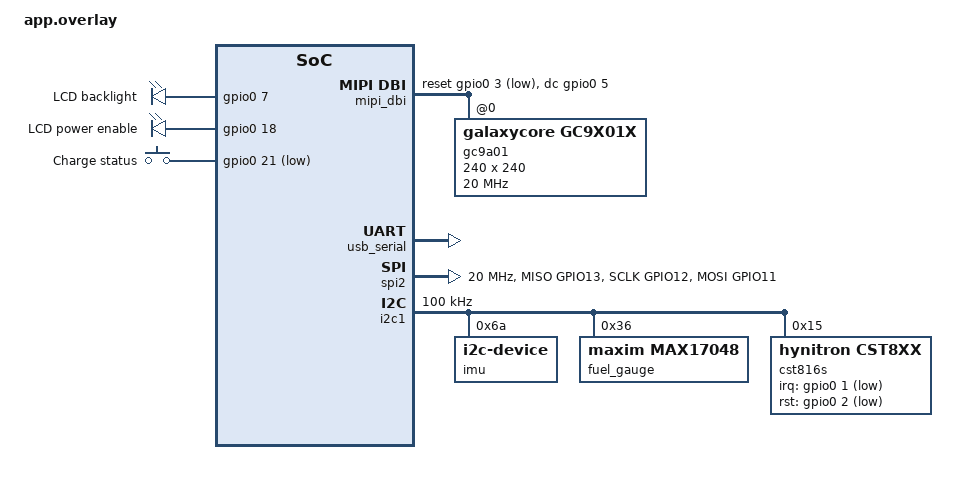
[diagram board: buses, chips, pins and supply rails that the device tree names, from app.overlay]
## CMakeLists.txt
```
cmake_minimum_required(VERSION 3.20.0)

set(BOARD esp32s3_devkitc/esp32s3/procpu CACHE STRING "Default Zephyr board")

find_package(Zephyr REQUIRED HINTS $ENV{ZEPHYR_BASE})
project(minimal_zephyr_app)

target_sources(app PRIVATE
    src/main.c
    src/panel.c
    src/menu.c
    src/battery_log.c
    src/assets/step_icon.c
)
```

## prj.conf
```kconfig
CONFIG_CONSOLE=y
CONFIG_UART_CONSOLE=y
CONFIG_SERIAL=y
CONFIG_SERIAL_ESP32_USB=y
CONFIG_SHELL=y
CONFIG_SHELL_BACKEND_SERIAL=y
CONFIG_SHELL_PROMPT_UART="hacktor:~$ "
CONFIG_SHELL_STACK_SIZE=4096
CONFIG_GPIO=y
CONFIG_PRINTK=y
CONFIG_SPI=y
CONFIG_INPUT=y
CONFIG_DISPLAY=y
CONFIG_FUEL_GAUGE=y
CONFIG_MAX17048=y
CONFIG_LOG=y
CONFIG_MAIN_STACK_SIZE=4096
CONFIG_LVGL=y
CONFIG_LV_Z_AUTO_INIT=n
CONFIG_LV_Z_MEM_POOL_SIZE=65536
CONFIG_LV_USE_LABEL=y
CONFIG_LV_USE_LINE=y
CONFIG_LV_FONT_MONTSERRAT_14=y
CONFIG_LV_FONT_MONTSERRAT_20=y
CONFIG_LV_FONT_DEFAULT_MONTSERRAT_14=y
CONFIG_LV_COLOR_16_SWAP=y

# Shell tools for poking at the hardware from the console.
CONFIG_DEVICE_SHELL=y
CONFIG_GPIO_SHELL=y
CONFIG_I2C_SHELL=y
CONFIG_KERNEL_SHELL=y

# The touch controller reports far faster than the 16-deep defaults can absorb,
# and dropped events leave LVGL with presses that never complete.
CONFIG_INPUT_QUEUE_MAX_MSGS=64
CONFIG_LV_Z_POINTER_INPUT_MSGQ_COUNT=64

# Stay in interrupt mode. The controller returns all-zero data when idle, and
# the driver reads that as a press at 0,0 (event 0 is EVENT_PRESS_DOWN), so
# polling manufactures a permanent touch. Reading only when the panel raises
# its interrupt means only real contacts are ever sampled.
```

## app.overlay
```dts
#include <zephyr/dt-bindings/display/panel.h>
#include <zephyr/dt-bindings/gpio/gpio.h>
#include <zephyr/dt-bindings/i2c/i2c.h>
#include <zephyr/dt-bindings/input/input-event-codes.h>
#include <zephyr/dt-bindings/pinctrl/esp-pinctrl-common.h>
#include <zephyr/dt-bindings/pinctrl/esp32s3-gpio-sigmap.h>
#include <zephyr/dt-bindings/pinctrl/esp32s3-pinctrl.h>

/ {
	chosen {
		zephyr,console = &usb_serial;
		zephyr,shell-uart = &usb_serial;
		zephyr,display = &gc9a01;
		zephyr,touch = &cst816s;
	};

	mipi_dbi {
		compatible = "zephyr,mipi-dbi-spi";
		spi-dev = <&spi2>;
		dc-gpios = <&gpio0 5 GPIO_ACTIVE_HIGH>;
		reset-gpios = <&gpio0 3 GPIO_ACTIVE_LOW>;
		write-only;
		#address-cells = <1>;
		#size-cells = <0>;

		gc9a01: gc9a01@0 {
			compatible = "galaxycore,gc9x01x";
			reg = <0>;
			status = "okay";
			zephyr,deferred-init;
			orientation = "180";
			mipi-max-frequency = <20000000>;
			mipi-mode = "MIPI_DBI_MODE_SPI_4WIRE";
			pixel-format = <PANEL_PIXEL_FORMAT_RGB_565>;
			width = <240>;
			height = <240>;
			display-inversion;
		};
	};

	leds {
		compatible = "gpio-leds";

		lcd_backlight: lcd_backlight {
			gpios = <&gpio0 7 GPIO_ACTIVE_HIGH>;
			label = "LCD backlight";
		};

		lcd_power_enable: lcd_power_enable {
			gpios = <&gpio0 18 GPIO_ACTIVE_HIGH>;
			label = "LCD power enable";
		};
	};

	charger_inputs {
		compatible = "gpio-keys";

		charger_status: charger_status {
			gpios = <&gpio0 21 (GPIO_PULL_UP | GPIO_ACTIVE_LOW)>;
			label = "Charge status";
			zephyr,code = <INPUT_KEY_F24>;
		};
	};
};

&usb_serial {
	status = "okay";
};

&pinctrl {
	/* LCD is wired to GPIO12/11/13, the IO_MUX pins of SPI2 (FSPI). */
	spim2_lcd_default: spim2_lcd_default {
		group1 {
			pinmux = <SPIM2_MISO_GPIO13>, <SPIM2_SCLK_GPIO12>;
		};

		group2 {
			pinmux = <SPIM2_MOSI_GPIO11>;
			output-low;
		};
	};

	i2c1_touch_default: i2c1_touch_default {
		group1 {
			pinmux = <I2C1_SDA_GPIO8>, <I2C1_SCL_GPIO9>;
			bias-pull-up;
			drive-open-drain;
			output-high;
		};
	};
};

&spi2 {
	#address-cells = <1>;
	#size-cells = <0>;
	status = "okay";
	pinctrl-0 = <&spim2_lcd_default>;
	pinctrl-names = "default";
	clock-frequency = <20000000>;
	cs-gpios = <&gpio0 4 GPIO_ACTIVE_LOW>;
};

&spi3 {
	status = "disabled";
};

&i2c1 {
	status = "okay";
	clock-frequency = <I2C_BITRATE_STANDARD>;
	pinctrl-0 = <&i2c1_touch_default>;
	pinctrl-names = "default";

	imu: lsm6dsl@6a {
		compatible = "i2c-device";
		reg = <0x6a>;
		status = "okay";
	};

	fuel_gauge: max17048@36 {
		compatible = "maxim,max17048";
		reg = <0x36>;
		status = "okay";
		zephyr,deferred-init;
	};

	cst816s: cst81xx@15 {
		compatible = "hynitron,cst8xx";
		reg = <0x15>;
		status = "okay";
		/*
		 * Deferred because the 3V3_2 rail is still down at boot; the app
		 * initialises the controller after powering the display. Losing
		 * this makes device_init() return -EALREADY and the panel never
		 * comes up at all.
		 */
		zephyr,deferred-init;
		irq-gpios = <&gpio0 1 (GPIO_PULL_UP | GPIO_ACTIVE_LOW)>;
		rst-gpios = <&gpio0 2 GPIO_ACTIVE_LOW>;
	};
};

&{/buttons} {
	imu_wake1 {
		gpios = <&gpio0 17 GPIO_ACTIVE_HIGH>;
		label = "IMU INT1";
		zephyr,code = <INPUT_KEY_WAKEUP>;
	};

	imu_wake2 {
		gpios = <&gpio0 14 GPIO_ACTIVE_HIGH>;
		label = "IMU INT2";
		zephyr,code = <INPUT_KEY_WAKEUP>;
	};
};
```

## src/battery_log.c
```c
#include "battery_log.h"

#include <errno.h>
#include <stdlib.h>
#include <zephyr/device.h>
#include <zephyr/drivers/i2c.h>
#include <zephyr/kernel.h>
#include <zephyr/shell/shell.h>
#include <zephyr/sys/byteorder.h>
#include <zephyr/sys/util.h>

#define FUEL_GAUGE_NODE DT_NODELABEL(fuel_gauge)

/*
 * Registers are read straight off the bus rather than through the Zephyr
 * fuel gauge driver, for two reasons:
 *
 *   - max17048_percent() returns `data / 256`, throwing away the low byte of
 *     the state of charge. One percent of this cell is 2 mAh, which is several
 *     minutes of idle — far too coarse to compare one power fix against the
 *     next. The raw register carries 1/256 %, or 0.0156 mAh.
 *   - the driver reads CRATE but only ever exposes it as a time-to-empty in
 *     whole minutes. Read directly it is a discharge rate, which is the
 *     closest thing to a current meter this board has.
 *
 * Talking to the chip directly also means the log keeps working when the
 * driver failed to initialize, which is exactly when it is most interesting.
 */
#define REG_VCELL 0x02
#define REG_SOC   0x04
#define REG_CRATE 0x16

/* Cell fitted on the board. Only used to turn percentages into mAh. */
#define BATTERY_CAPACITY_MAH 200

/* Datasheet Table 2: CRATE is 0.208 %/hr per LSB. Against a 200 mAh cell that
 * is 0.416 mA, held here as microamps so the arithmetic stays integer. */
#define CRATE_UA_PER_LSB ((208 * BATTERY_CAPACITY_MAH) / 100)

/* Full charge in the units of REG_SOC: 100 % at 1/256 % per LSB. */
#define SOC_FULL_Q8 25600

#define SAMPLE_SLOTS     512
#define PERIOD_MIN_S     10U
#define PERIOD_MAX_S     3600U
#define PERIOD_DEFAULT_S 60U

#define LOG_THREAD_STACK_SIZE 1536
#define LOG_THREAD_PRIORITY   10

struct battery_sample {
	uint32_t uptime_s;
	uint16_t soc_q8;
	uint16_t millivolts;
	uint16_t screen_on_s; /* lit time within the interval ending at this sample */
	int16_t crate_raw;
};

static const struct i2c_dt_spec fuel_gauge = I2C_DT_SPEC_GET(FUEL_GAUGE_NODE);

static K_MUTEX_DEFINE(log_mutex);
K_THREAD_STACK_DEFINE(log_thread_stack, LOG_THREAD_STACK_SIZE);
static struct k_thread log_thread_data;

static struct battery_sample ring[SAMPLE_SLOTS];
static uint32_t ring_head;
static uint32_t ring_count;

/*
 * The ring is allowed to overwrite its oldest entries, but the very first
 * sample is kept aside so a long run can still be summarised end to end after
 * the detail has rolled off.
 */
static struct battery_sample anchor;
static struct battery_sample latest;
static bool anchor_valid;

/*
 * Running totals, kept outside the ring so they survive rollover. Intervals
 * are split by whether the screen came on at all, which is what lets the two
 * currents be told apart.
 */
static uint64_t total_ms;
static int32_t total_drop_q8;
static uint64_t idle_ms;
static int32_t idle_drop_q8;
static uint64_t screen_ms;
static uint32_t charging_skips;
static uint32_t read_errors;

static uint32_t period_s = PERIOD_DEFAULT_S;

/* Screen accounting is written from the display thread and read from the
 * sampler, so it gets its own lock; the sections are a few lines each. */
static struct k_spinlock screen_lock;
static bool screen_lit;
static int64_t screen_since_ms;
static uint32_t screen_accum_ms;

void battery_log_display_changed(bool active)
{
	const int64_t now = k_uptime_get();
	k_spinlock_key_t key = k_spin_lock(&screen_lock);

	if (active && !screen_lit) {
		screen_lit = true;
		screen_since_ms = now;
	} else if (!active && screen_lit) {
		screen_accum_ms += (uint32_t)(now - screen_since_ms);
		screen_lit = false;
	}

	k_spin_unlock(&screen_lock, key);
}

static uint32_t take_screen_ms(void)
{
	const int64_t now = k_uptime_get();
	k_spinlock_key_t key = k_spin_lock(&screen_lock);
	uint32_t ms = screen_accum_ms;

	/* A screen that is still lit contributes the part elapsed so far, and
	 * the clock restarts here so the next interval is not double counted. */
	if (screen_lit) {
		ms += (uint32_t)(now - screen_since_ms);
		screen_since_ms = now;
	}

	screen_accum_ms = 0;
	k_spin_unlock(&screen_lock, key);

	return ms;
}

static int read_reg(uint8_t reg, uint16_t *value)
{
	uint8_t buf[2];
	const int ret = i2c_write_read_dt(&fuel_gauge, &reg, sizeof(reg), buf, sizeof(buf));

	if (ret < 0) {
		return ret;
	}

	*value = sys_get_be16(buf);
	return 0;
}

static int read_sample(struct battery_sample *out)
{
	uint16_t soc;
	uint16_t vcell;
	uint16_t crate;
	int ret;

	ret = read_reg(REG_SOC, &soc);
	if (ret < 0) {
		return ret;
	}

	ret = read_reg(REG_VCELL, &vcell);
	if (ret < 0) {
		return ret;
	}

	ret = read_reg(REG_CRATE, &crate);
	if (ret < 0) {
		return ret;
	}

	out->uptime_s = (uint32_t)(k_uptime_get() / 1000);
	out->soc_q8 = soc;
	/* 78.125 uV per LSB, which is exactly 5/64 mV. */
	out->millivolts = (uint16_t)(((uint32_t)vcell * 5U) / 64U);
	out->crate_raw = (int16_t)crate;
	out->screen_on_s = 0U;

	return 0;
}

static int64_t soc_delta_to_uah(int32_t delta_q8)
{
	return ((int64_t)delta_q8 * BATTERY_CAPACITY_MAH * 1000) / SOC_FULL_Q8;
}

static int32_t average_ua(int32_t delta_q8, uint64_t ms)
{
	if (ms == 0U) {
		return 0;
	}

	return (int32_t)((soc_delta_to_uah(delta_q8) * 3600000) / (int64_t)ms);
}

static void accumulate(const struct battery_sample *prev, const struct battery_sample *now)
{
	const uint64_t interval_ms = (uint64_t)(now->uptime_s - prev->uptime_s) * 1000ULL;
	const int32_t drop = (int32_t)prev->soc_q8 - (int32_t)now->soc_q8;

	if (interval_ms == 0U) {
		return;
	}

	/* Charging, or a gauge re-estimate that pushed the reading back up,
	 * makes the interval useless for a discharge figure. */
	if (drop < 0) {
		charging_skips++;
		return;
	}

	total_ms += interval_ms;
	total_drop_q8 += drop;
	screen_ms += (uint64_t)now->screen_on_s * 1000ULL;

	if (now->screen_on_s == 0U) {
		idle_ms += interval_ms;
		idle_drop_q8 += drop;
	}
}

static void store(const struct battery_sample *sample)
{
	k_mutex_lock(&log_mutex, K_FOREVER);

	if (!anchor_valid) {
		anchor = *sample;
		anchor_valid = true;
	} else {
		accumulate(&latest, sample);
	}

	latest = *sample;

	ring[ring_head] = *sample;
	ring_head = (ring_head + 1U) % SAMPLE_SLOTS;
	if (ring_count < SAMPLE_SLOTS) {
		ring_count++;
	}

	k_mutex_unlock(&log_mutex);
}

/* Index 0 is the oldest entry still held. Call with the mutex taken. */
static const struct battery_sample *ring_at(uint32_t index)
{
	const uint32_t start = (ring_count == SAMPLE_SLOTS) ? ring_head : 0U;

	return &ring[(start + index) % SAMPLE_SLOTS];
}

static void log_thread_entry(void *arg1, void *arg2, void *arg3)
{
	ARG_UNUSED(arg1);
	ARG_UNUSED(arg2);
	ARG_UNUSED(arg3);

	/*
	 * Nothing in this thread may print. It keeps running with USB unplugged,
	 * which is the whole point of the log, and the console blocks when no
	 * host is draining it — a stray printk here would hang the sampler and
	 * take the measurement with it.
	 */
	while (1) {
		struct battery_sample sample;

		k_sleep(K_SECONDS(period_s));

		if (read_sample(&sample) < 0) {
			read_errors++;
			/* Leave the screen time banked; it belongs to whichever
			 * interval eventually closes. */
			continue;
		}

		sample.screen_on_s = (uint16_t)MIN(take_screen_ms() / 1000U, (uint32_t)UINT16_MAX);
		store(&sample);
	}
}

int battery_log_init(void)
{
	if (!device_is_ready(fuel_gauge.bus)) {
		return -ENODEV;
	}

	k_thread_create(&log_thread_data, log_thread_stack,
			K_THREAD_STACK_SIZEOF(log_thread_stack), log_thread_entry, NULL, NULL,
			NULL, LOG_THREAD_PRIORITY, 0, K_NO_WAIT);
	k_thread_name_set(&log_thread_data, "batlog");

	return 0;
}

/* Shell */

static void print_soc(const struct shell *sh, const char *label, uint16_t soc_q8)
{
	shell_print(sh, "%-16s %u.%02u %%", label, soc_q8 / 256U,
		    ((soc_q8 % 256U) * 100U) / 256U);
}

static void print_duration(const struct shell *sh, const char *label, uint64_t ms)
{
	const uint64_t secs = ms / 1000ULL;

	shell_print(sh, "%-16s %lluh %02llum %02llus", label, secs / 3600ULL,
		    (secs / 60ULL) % 60ULL, secs % 60ULL);
}

static void print_current(const struct shell *sh, const char *label, int32_t ua)
{
	shell_print(sh, "%-16s %d.%03d mA", label, ua / 1000, abs(ua) % 1000);
}

static int cmd_now(const struct shell *sh, size_t argc, char **argv)
{
	uint16_t soc;
	uint16_t vcell;
	uint16_t crate;
	int32_t ua;
	int ret;

	ARG_UNUSED(argc);
	ARG_UNUSED(argv);

	ret = read_reg(REG_SOC, &soc);
	if (ret == 0) {
		ret = read_reg(REG_VCELL, &vcell);
	}
	if (ret == 0) {
		ret = read_reg(REG_CRATE, &crate);
	}
	if (ret < 0) {
		shell_error(sh, "fuel gauge read failed: %d", ret);
		return ret;
	}

	ua = (int32_t)(int16_t)crate * CRATE_UA_PER_LSB;

	print_soc(sh, "charge", soc);
	shell_print(sh, "%-16s %u mV", "cell", ((uint32_t)vcell * 5U) / 64U);
	shell_print(sh, "%-16s %d LSB (%d.%03d %%/hr)", "crate", (int16_t)crate,
		    ((int16_t)crate * 208) / 1000, abs((int16_t)crate * 208) % 1000);
	print_current(sh, ua < 0 ? "draw" : "charge rate", ua < 0 ? -ua : ua);
	shell_print(sh, "");
	shell_print(sh, "CRATE is a ModelGauge estimate, not a shunt reading. It needs a few");
	shell_print(sh, "minutes to settle and resolves ~0.4 mA per LSB, so treat it as a");
	shell_print(sh, "quick check and use 'batlog stat' for the number you trust.");

	return 0;
}

static int cmd_stat(const struct shell *sh, size_t argc, char **argv)
{
	int32_t idle_ua;
	int32_t total_ua;
	uint64_t elapsed_ms;
	int32_t drop_q8;

	ARG_UNUSED(argc);
	ARG_UNUSED(argv);

	k_mutex_lock(&log_mutex, K_FOREVER);

	if (!anchor_valid || ring_count < 2U) {
		k_mutex_unlock(&log_mutex);
		shell_print(sh, "Not enough samples yet (period is %u s).", period_s);
		return 0;
	}

	elapsed_ms = (uint64_t)(latest.uptime_s - anchor.uptime_s) * 1000ULL;
	drop_q8 = (int32_t)anchor.soc_q8 - (int32_t)latest.soc_q8;
	idle_ua = average_ua(idle_drop_q8, idle_ms);
	total_ua = average_ua(total_drop_q8, total_ms);

	shell_print(sh, "samples          %u held, %u s period", ring_count, period_s);
	print_duration(sh, "span", elapsed_ms);
	print_soc(sh, "start", anchor.soc_q8);
	print_soc(sh, "now", latest.soc_q8);
	shell_print(sh, "%-16s %u mV", "cell", latest.millivolts);
	shell_print(sh, "%-16s %lld.%03llu mAh", "used",
		    soc_delta_to_uah(drop_q8) / 1000,
		    (unsigned long long)(llabs(soc_delta_to_uah(drop_q8)) % 1000));
	shell_print(sh, "");

	print_duration(sh, "screen lit", screen_ms);
	print_duration(sh, "measured", total_ms);
	print_current(sh, "average", total_ua);
	shell_print(sh, "");

	if (idle_ms == 0U) {
		shell_print(sh, "No screen-off interval yet, so idle current is unknown.");
		shell_print(sh, "Leave it alone for a few sample periods.");
	} else {
		print_duration(sh, "idle only", idle_ms);
		print_current(sh, "=> idle draw", idle_ua);
	}

	/*
	 * Screen-on current is what is left once the idle draw is charged
	 * against the dark part of the intervals that did have the screen lit.
	 * It only means anything once a fair amount of lit time has built up.
	 */
	if (idle_ms > 0U && screen_ms > 0U) {
		const uint64_t mixed_ms = total_ms - idle_ms;
		const int64_t mixed_uah = soc_delta_to_uah(total_drop_q8 - idle_drop_q8);
		const int64_t dark_uah =
			((int64_t)idle_ua * (int64_t)(mixed_ms - screen_ms)) / 3600000;
		const int64_t lit_uah = mixed_uah - dark_uah;

		if (mixed_ms >= screen_ms && screen_ms >= 60000ULL) {
			print_current(sh, "=> screen on",
				      (int32_t)((lit_uah * 3600000) / (int64_t)screen_ms));
		} else {
			shell_print(sh, "%-16s needs >1 min of lit time", "=> screen on");
		}
	}

	if (total_ua > 0) {
		const int64_t remaining_uah = soc_delta_to_uah((int32_t)latest.soc_q8);

		shell_print(sh, "");
		print_duration(sh, "left at this rate",
			       (uint64_t)((remaining_uah * 3600000) / total_ua));
	}

	if (charging_skips > 0U || read_errors > 0U) {
		shell_print(sh, "");
		shell_print(sh, "skipped %u charging intervals, %u read errors", charging_skips,
			    read_errors);
	}

	k_mutex_unlock(&log_mutex);
	return 0;
}

static int cmd_dump(const struct shell *sh, size_t argc, char **argv)
{
	uint32_t wanted;
	uint32_t first;
	uint32_t i;

	k_mutex_lock(&log_mutex, K_FOREVER);

	wanted = ring_count;
	if (argc > 1) {
		wanted = MIN((uint32_t)atoi(argv[1]), ring_count);
	}
	first = ring_count - wanted;

	shell_print(sh, "%9s %8s %7s %7s %8s", "uptime_s", "soc_%", "mV", "lit_s", "crate");

	for (i = first; i < ring_count; i++) {
		const struct battery_sample *s = ring_at(i);

		shell_print(sh, "%9u %5u.%02u %7u %7u %8d", s->uptime_s, s->soc_q8 / 256U,
			    ((s->soc_q8 % 256U) * 100U) / 256U, s->millivolts, s->screen_on_s,
			    s->crate_raw);
	}

	k_mutex_unlock(&log_mutex);
	return 0;
}

static int cmd_csv(const struct shell *sh, size_t argc, char **argv)
{
	uint32_t i;

	ARG_UNUSED(argc);
	ARG_UNUSED(argv);

	k_mutex_lock(&log_mutex, K_FOREVER);

	shell_print(sh, "uptime_s,soc_q8,millivolts,screen_on_s,crate_raw");
	for (i = 0; i < ring_count; i++) {
		const struct battery_sample *s = ring_at(i);

		shell_print(sh, "%u,%u,%u,%u,%d", s->uptime_s, s->soc_q8, s->millivolts,
			    s->screen_on_s, s->crate_raw);
	}

	k_mutex_unlock(&log_mutex);
	return 0;
}

static int cmd_period(const struct shell *sh, size_t argc, char **argv)
{
	uint32_t value;

	if (argc < 2) {
		shell_print(sh, "period is %u s", period_s);
		return 0;
	}

	value = (uint32_t)atoi(argv[1]);
	if (value < PERIOD_MIN_S || value > PERIOD_MAX_S) {
		shell_error(sh, "period must be %u..%u s", PERIOD_MIN_S, PERIOD_MAX_S);
		return -EINVAL;
	}

	period_s = value;
	shell_print(sh, "period is %u s, effective after the current sleep", value);
	shell_print(sh, "%u slots covers %u h at this rate", SAMPLE_SLOTS,
		    (SAMPLE_SLOTS * value) / 3600U);

	return 0;
}

static int cmd_clear(const struct shell *sh, size_t argc, char **argv)
{
	ARG_UNUSED(argc);
	ARG_UNUSED(argv);

	k_mutex_lock(&log_mutex, K_FOREVER);

	ring_head = 0U;
	ring_count = 0U;
	anchor_valid = false;
	total_ms = 0U;
	total_drop_q8 = 0;
	idle_ms = 0U;
	idle_drop_q8 = 0;
	screen_ms = 0U;
	charging_skips = 0U;
	read_errors = 0U;

	k_mutex_unlock(&log_mutex);

	(void)take_screen_ms();
	shell_print(sh, "cleared");

	return 0;
}

SHELL_STATIC_SUBCMD_SET_CREATE(
	batlog_cmds, SHELL_CMD(now, NULL, "Instant charge, cell voltage and discharge rate",
			       cmd_now),
	SHELL_CMD(stat, NULL, "Summary: idle draw, screen-on draw, projected runtime", cmd_stat),
	SHELL_CMD_ARG(dump, NULL, "Sample table, optionally the last N: dump [n]", cmd_dump, 1, 1),
	SHELL_CMD(csv, NULL, "Samples as CSV for a spreadsheet", cmd_csv),
	SHELL_CMD_ARG(period, NULL, "Show or set the sample period in seconds", cmd_period, 1, 1),
	SHELL_CMD(clear, NULL, "Discard the log and start a fresh run", cmd_clear),
	SHELL_SUBCMD_SET_END);
SHELL_CMD_REGISTER(batlog, &batlog_cmds, "Battery discharge log", NULL);
```

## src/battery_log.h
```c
#ifndef BATTERY_LOG_H_
#define BATTERY_LOG_H_

#include <stdbool.h>

/*
 * Samples the fuel gauge on a slow thread and keeps the history in RAM, so a
 * discharge test can run with USB unplugged and be read back afterwards.
 */
int battery_log_init(void);

/*
 * Called on every display power transition, so each sample knows how much of
 * the interval it covers was spent with the screen lit. That split is what
 * separates the idle current from the screen-on current.
 */
void battery_log_display_changed(bool active);

#endif /* BATTERY_LOG_H_ */
```

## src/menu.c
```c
#include "menu.h"

#include <errno.h>
#include <zephyr/sys/util.h>

#define ROW_WIDTH    140
#define ROW_HEIGHT   38
#define ROW_PITCH    44
#define ROW_X_OFFSET (-18)
#define ROW_RADIUS   10
#define BAND_TOP     45
#define BAND_HEIGHT  140
#define RAIL_WIDTH   14
#define RAIL_X       80
#define RAIL_TOP     55
#define RAIL_HEIGHT  130
#define THUMB_MIN    30
#define BACK_SIZE    36
#define BACK_BOTTOM  4
#define BACK_HIT_MARGIN 20
#define RAIL_HIT_MARGIN 24
#define BG_HEX       0x282828
#define ON_HEX       0x0080FF
#define RAIL_BG_HEX  0x1A1A1A
#define THUMB_HEX    0x5A5A5A
#define TEXT_HEX     0xFFFFFF

/*
 * Grown one step at a time, each step confirmed on hardware before the next.
 * An earlier attempt built the whole thing at once — scrollable list, flex
 * layout, six rows — never registered a touch, and gave no way to tell which
 * layer was at fault.
 *
 * Rows sit at fixed positions straight on the screen and are moved by hand.
 * LVGL's own scrollable container swallows every press on this hardware: the
 * panel reports contact and release with little movement between, so a press
 * is held as the start of a drag that never arrives and never reaches the row.
 *
 * Scrolling therefore lives on a dedicated rail down the side, which reads an
 * absolute position rather than a gesture. Touch it anywhere and the list
 * jumps there; drag along it and the list follows. Both work with press-only
 * input, and taps on rows stay unambiguous because the rail is the only thing
 * that scrolls.
 *
 * Nothing here may print from an LVGL callback. The USB console blocks when
 * the host is not draining it, and these run on the UI thread while it holds
 * the LVGL lock, so a stray printk freezes the interface.
 */

struct menu_app {
	const char *name;
	void (*open)(void);
};

static const struct menu_app apps[] = {
	{ "Stopwatch", NULL },
	{ "Timer",     NULL },
	{ "Pasi",      NULL },
	{ "Baterie",   NULL },
	{ "Setari",    NULL },
	{ "Info",      NULL },
};

#define APP_COUNT      ARRAY_SIZE(apps)
#define CONTENT_HEIGHT ((int32_t)APP_COUNT * ROW_PITCH - (ROW_PITCH - ROW_HEIGHT))
#define MAX_SCROLL     (CONTENT_HEIGHT - BAND_HEIGHT)

static lv_obj_t *menu_screen;
static lv_obj_t *home;
static lv_obj_t *rows[APP_COUNT];
static lv_obj_t *rail;
static lv_obj_t *thumb;
static bool menu_visible;
static int32_t scroll_px;

/*
 * Screens must not be swapped from inside an event handler: the input device
 * is still holding the pressed object, and once that object is off the active
 * screen the indev stays latched to it. Defer until LVGL is done with the press.
 */
static void close_async(void *unused)
{
	ARG_UNUSED(unused);

	menu_close();
}

static void back_clicked(lv_event_t *event)
{
	ARG_UNUSED(event);

	lv_async_call(close_async, NULL);
}

static void row_clicked(lv_event_t *event)
{
	const struct menu_app *app = lv_event_get_user_data(event);

	if (app != NULL && app->open != NULL) {
		app->open();
	}
}

static void apply_scroll(void)
{
	int32_t thumb_height = MAX(THUMB_MIN, (RAIL_HEIGHT * BAND_HEIGHT) / CONTENT_HEIGHT);
	int32_t travel = RAIL_HEIGHT - thumb_height;
	size_t i;

	for (i = 0; i < APP_COUNT; i++) {
		int32_t y = BAND_TOP + (int32_t)i * ROW_PITCH - scroll_px;
		bool visible = (y + ROW_HEIGHT > BAND_TOP) && (y < BAND_TOP + BAND_HEIGHT);

		if (visible) {
			lv_obj_remove_flag(rows[i], LV_OBJ_FLAG_HIDDEN);
			lv_obj_align(rows[i], LV_ALIGN_TOP_MID, ROW_X_OFFSET, y);
		} else {
			lv_obj_add_flag(rows[i], LV_OBJ_FLAG_HIDDEN);
		}
	}

	lv_obj_set_height(thumb, thumb_height);
	lv_obj_align(thumb, LV_ALIGN_TOP_LEFT, 0,
		     MAX_SCROLL > 0 ? (scroll_px * travel) / MAX_SCROLL : 0);
}

/*
 * Position, not gesture: wherever the finger sits on the rail is where the
 * list goes. Behaves the same whether it was a tap or a drag.
 */
static void rail_pressed(lv_event_t *event)
{
	lv_indev_t *indev = lv_indev_active();
	lv_area_t area;
	lv_point_t point;
	int32_t usable;
	int32_t rel;

	ARG_UNUSED(event);

	if (indev == NULL || MAX_SCROLL <= 0) {
		return;
	}

	lv_indev_get_point(indev, &point);
	lv_obj_get_coords(rail, &area);

	usable = lv_area_get_height(&area);
	if (usable <= 0) {
		return;
	}

	rel = CLAMP(point.y - area.y1, 0, usable);
	scroll_px = (rel * MAX_SCROLL) / usable;
	apply_scroll();
}

static lv_obj_t *styled_box(lv_obj_t *parent, int32_t w, int32_t h, int32_t radius)
{
	lv_obj_t *box = lv_obj_create(parent);

	if (box == NULL) {
		return NULL;
	}

	lv_obj_remove_style_all(box);
	lv_obj_set_size(box, w, h);
	lv_obj_set_style_radius(box, radius, 0);
	lv_obj_set_style_bg_color(box, lv_color_hex(BG_HEX), 0);
	lv_obj_set_style_bg_opa(box, LV_OPA_COVER, 0);
	/* Lights up while held, so a tap that registers stays visible even if
	 * the click itself never fires. */
	lv_obj_set_style_bg_color(box, lv_color_hex(ON_HEX), LV_STATE_PRESSED);
	lv_obj_add_flag(box, LV_OBJ_FLAG_CLICKABLE);
	lv_obj_remove_flag(box, LV_OBJ_FLAG_SCROLLABLE);

	return box;
}

static lv_obj_t *add_label(lv_obj_t *parent, const char *text, const lv_font_t *font)
{
	lv_obj_t *label = lv_label_create(parent);

	if (label == NULL) {
		return NULL;
	}

	lv_label_set_text(label, text);
	lv_obj_set_style_text_font(label, font, 0);
	lv_obj_set_style_text_color(label, lv_color_hex(TEXT_HEX), 0);
	lv_obj_center(label);

	return label;
}

static int create_rail(void)
{
	rail = lv_obj_create(menu_screen);
	if (rail == NULL) {
		return -ENOMEM;
	}

	lv_obj_remove_style_all(rail);
	lv_obj_set_size(rail, RAIL_WIDTH, RAIL_HEIGHT);
	lv_obj_align(rail, LV_ALIGN_TOP_MID, RAIL_X, RAIL_TOP);
	lv_obj_set_style_radius(rail, RAIL_WIDTH / 2, 0);
	lv_obj_set_style_bg_color(rail, lv_color_hex(RAIL_BG_HEX), 0);
	lv_obj_set_style_bg_opa(rail, LV_OPA_COVER, 0);
	lv_obj_add_flag(rail, LV_OBJ_FLAG_CLICKABLE);
	lv_obj_remove_flag(rail, LV_OBJ_FLAG_SCROLLABLE);
	/* Generous, since the rail is narrow and touches read left of the finger. */
	lv_obj_set_ext_click_area(rail, RAIL_HIT_MARGIN);
	lv_obj_add_event_cb(rail, rail_pressed, LV_EVENT_PRESSED, NULL);
	lv_obj_add_event_cb(rail, rail_pressed, LV_EVENT_PRESSING, NULL);

	thumb = lv_obj_create(rail);
	if (thumb == NULL) {
		return -ENOMEM;
	}

	lv_obj_remove_style_all(thumb);
	lv_obj_set_width(thumb, RAIL_WIDTH);
	lv_obj_set_style_radius(thumb, RAIL_WIDTH / 2, 0);
	lv_obj_set_style_bg_color(thumb, lv_color_hex(THUMB_HEX), 0);
	lv_obj_set_style_bg_opa(thumb, LV_OPA_COVER, 0);
	/* The rail takes the touch; the thumb is decoration. */
	lv_obj_remove_flag(thumb, LV_OBJ_FLAG_CLICKABLE);

	return 0;
}

int menu_init(lv_obj_t *home_screen)
{
	lv_obj_t *back;
	size_t i;
	int ret;

	home = home_screen;

	menu_screen = lv_obj_create(NULL);
	if (menu_screen == NULL) {
		return -ENOMEM;
	}

	lv_obj_set_style_bg_color(menu_screen, lv_color_black(), 0);
	lv_obj_set_style_bg_opa(menu_screen, LV_OPA_COVER, 0);
	lv_obj_remove_flag(menu_screen, LV_OBJ_FLAG_SCROLLABLE);

	for (i = 0; i < APP_COUNT; i++) {
		rows[i] = styled_box(menu_screen, ROW_WIDTH, ROW_HEIGHT, ROW_RADIUS);
		if (rows[i] == NULL) {
			return -ENOMEM;
		}

		lv_obj_add_event_cb(rows[i], row_clicked, LV_EVENT_CLICKED, (void *)&apps[i]);

		if (add_label(rows[i], apps[i].name, &lv_font_montserrat_14) == NULL) {
			return -ENOMEM;
		}
	}

	ret = create_rail();
	if (ret < 0) {
		return ret;
	}

	back = styled_box(menu_screen, BACK_SIZE, BACK_SIZE, LV_RADIUS_CIRCLE);
	if (back == NULL) {
		return -ENOMEM;
	}

	lv_obj_align(back, LV_ALIGN_BOTTOM_MID, 0, -BACK_BOTTOM);
	lv_obj_set_ext_click_area(back, BACK_HIT_MARGIN);
	lv_obj_add_event_cb(back, back_clicked, LV_EVENT_CLICKED, NULL);

	if (add_label(back, LV_SYMBOL_LEFT, &lv_font_montserrat_14) == NULL) {
		return -ENOMEM;
	}

	apply_scroll();

	return 0;
}

void menu_open(void)
{
	if (menu_screen == NULL || menu_visible) {
		return;
	}

	scroll_px = 0;
	apply_scroll();
	lv_screen_load(menu_screen);
	menu_visible = true;
}

void menu_close(void)
{
	if (home == NULL || !menu_visible) {
		return;
	}

	lv_screen_load(home);
	menu_visible = false;
}
```

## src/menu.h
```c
#ifndef MENU_H_
#define MENU_H_

#include <stdbool.h>
#include <lvgl.h>

/* Builds the menu screen. Pass the watch face, which the menu returns to. */
int menu_init(lv_obj_t *home_screen);

void menu_open(void);
void menu_close(void);

#endif /* MENU_H_ */
```
